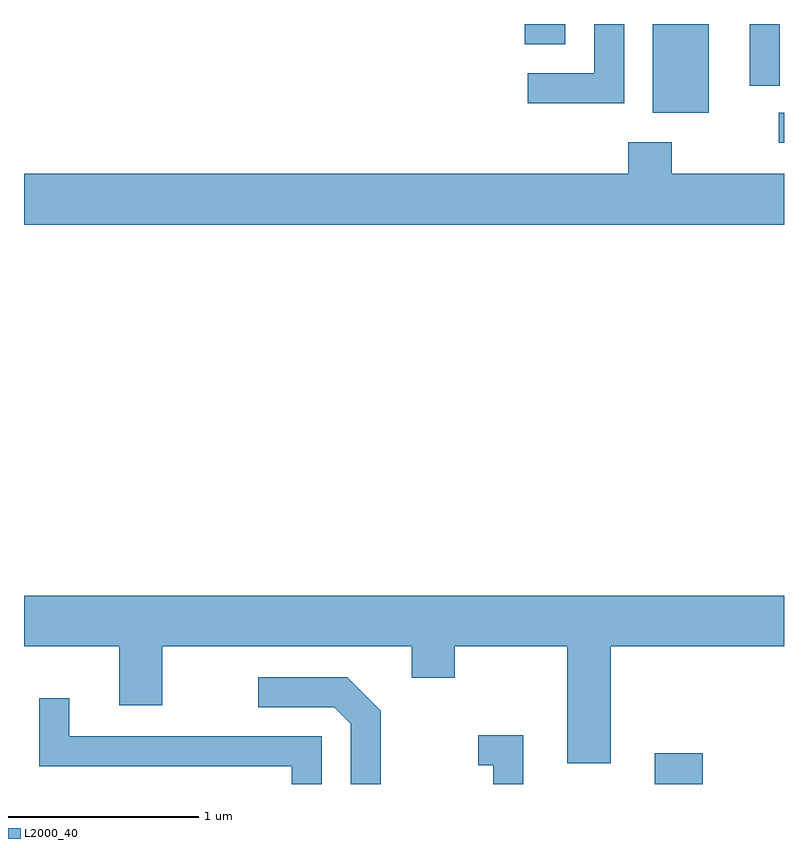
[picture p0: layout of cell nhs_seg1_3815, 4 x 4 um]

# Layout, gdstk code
import gdstk
lib = gdstk.Library(unit=1e-6, precision=1e-09)
def R(c, l, rs):  # rectangles x0, y0, x1, y1
    for r in rs: c.add(gdstk.rectangle(r[:2], r[2:], *l))
def P(c, l, *ps):  # polygons
    for p in ps: c.add(gdstk.Polygon(p, *l))
L2000_40 = (2000, 40)

nhs_seg1_3815 = lib.new_cell('nhs_seg1_3815')
R(nhs_seg1_3815, L2000_40, [(302.931,927.712,303.184,927.874), (303.583,931.086,303.611,931.244), (302.921,931.246,303.214,931.712), (303.431,931.388,303.589,931.712), (302.246,931.606,302.459,931.712)])
P(nhs_seg1_3815, L2000_40, [(302.769,931.712),(302.611,931.712),(302.611,931.454),(302.263,931.454),(302.263,931.296),(302.769,931.296)],
  [(303.611,930.924),(303.019,930.924),(303.019,931.089),(302.791,931.089),(302.791,930.924),(299.611,930.924),(299.611,930.656),(303.611,930.656)],
  [(299.611,928.436),(300.111,928.436),(300.111,928.126),(300.339,928.126),(300.339,928.436),(301.651,928.436),(301.651,928.271),(301.879,928.271),(301.879,928.436),(302.471,928.436),(302.471,927.821),(302.699,927.821),(302.699,928.436),(303.611,928.436),(303.611,928.704),(299.611,928.704)],
  [(301.489,928.097),(301.312,928.274),(300.843,928.274),(300.843,928.116),(301.244,928.116),(301.331,928.029),(301.331,927.712),(301.489,927.712)],
  [(301.179,927.964),(299.849,927.964),(299.849,928.163),(299.691,928.163),(299.691,927.806),(301.021,927.806),(301.021,927.712),(301.179,927.712)],
  [(302.239,927.969),(302.003,927.969),(302.003,927.811),(302.081,927.811),(302.081,927.712),(302.239,927.712)])

lib.write_gds('nhs_seg1_3815.gds')
